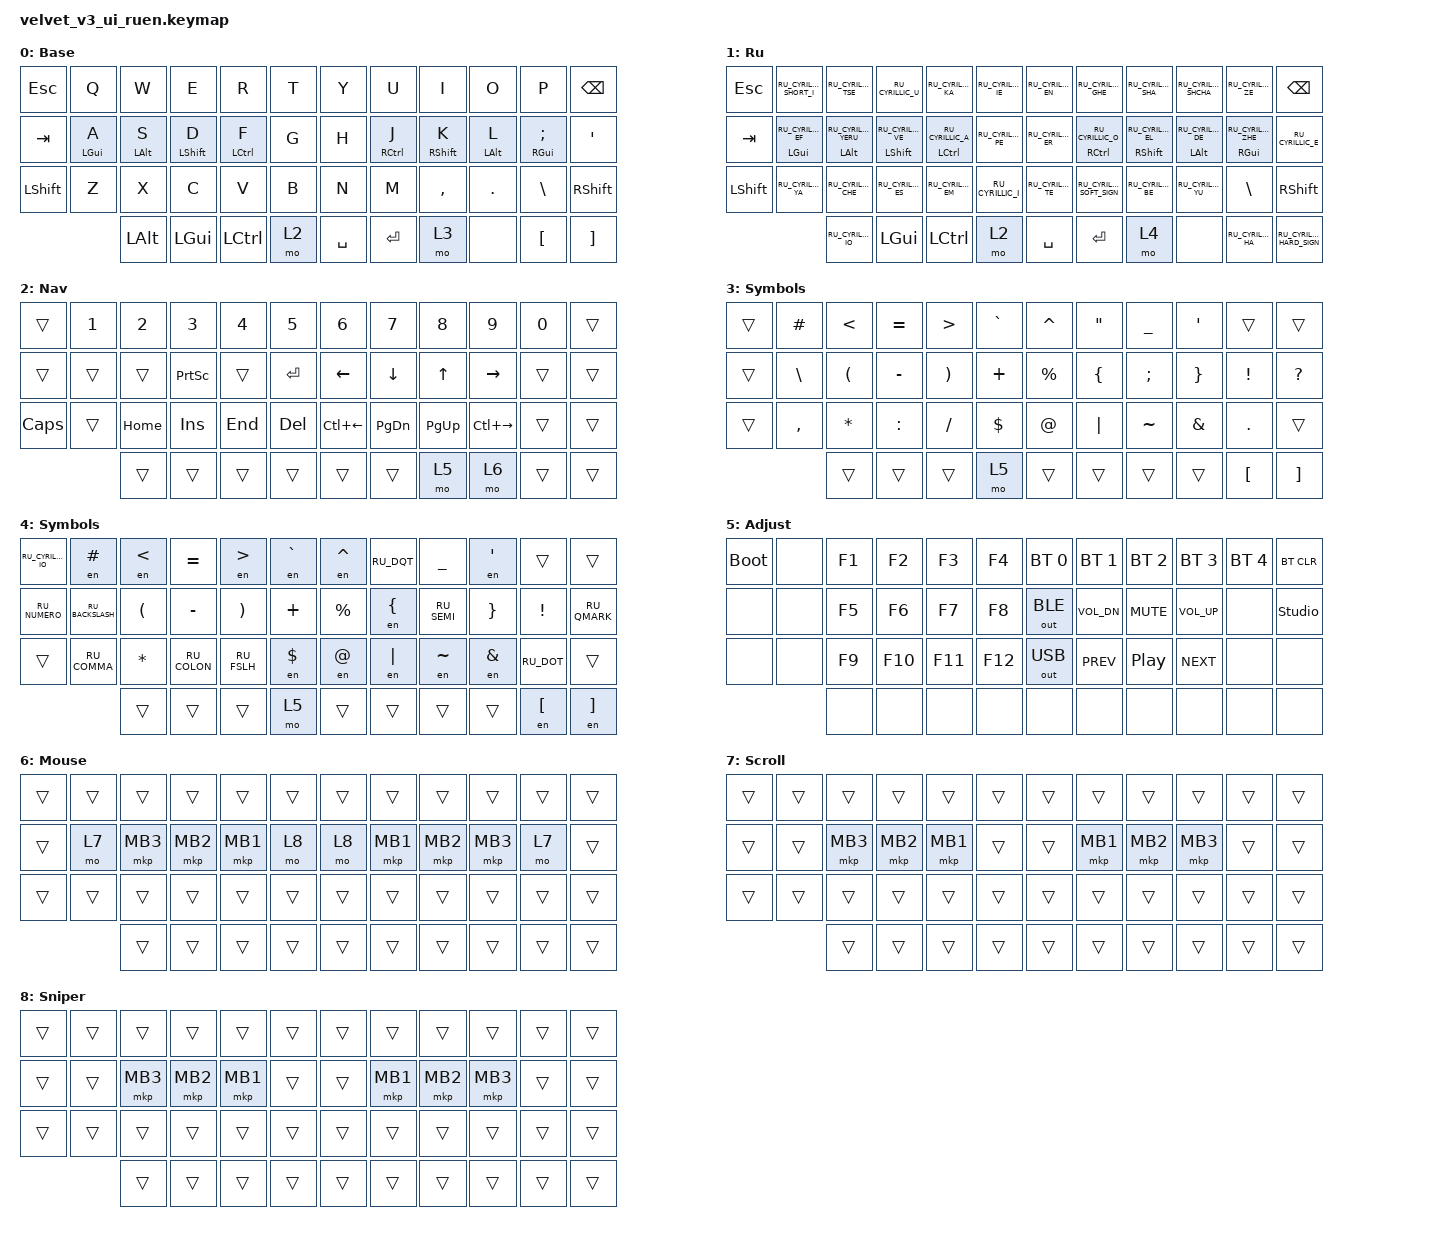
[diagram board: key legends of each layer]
#include "keys_ru.h"
#include <dt-bindings/zmk/input_transform.h>
#include <input/processors.dtsi>
#include <zephyr/dt-bindings/input/input-event-codes.h>
#include <behaviors.dtsi>
#include <dt-bindings/zmk/bt.h>
#include <dt-bindings/zmk/keys.h>
#include <dt-bindings/zmk/outputs.h>
#include <dt-bindings/zmk/pointing.h>

&mt {
    quick-tap-ms = <125>;
    flavor = "tap-preferred";
};

/ {
    behaviors {
        cap_sen: cap_sen {
            compatible = "zmk,behavior-hold-tap";
            label = "CAP_SEN";
            bindings = <&mo>, <&mkp>;

            #binding-cells = <2>;
            tapping-term-ms = <150>;
            hold-while-undecided;
        };

        hml: home_row_mod_left {
            compatible = "zmk,behavior-hold-tap";
            label = "HML";
            bindings = <&kp>, <&kp>;

            #binding-cells = <2>;
            tapping-term-ms = <280>;
            quick-tap-ms = <175>;
            require-prior-idle-ms = <150>;
            flavor = "balanced";
            hold-trigger-on-release;
            hold-trigger-key-positions = <6 7 8 9 10 11 18 19 20 21 22 23 30 31 32 33 34 35 41 42 43 44 45>;
        };

        hmr: home_row_mod_right {
            compatible = "zmk,behavior-hold-tap";
            label = "HMR";
            bindings = <&kp>, <&kp>;

            #binding-cells = <2>;
            tapping-term-ms = <280>;
            quick-tap-ms = <175>;
            require-prior-idle-ms = <150>;
            flavor = "balanced";
            hold-trigger-key-positions = <0 1 2 3 4 5 12 13 14 15 16 17 24 25 26 27 28 29 36 37 38 39 40>;
            hold-trigger-on-release;
        };

        mouse_layer: mouse_layer {
            compatible = "zmk,behavior-sticky-key";
            label = "MOUSE_LAYER";
            bindings = <&mo>;
            #binding-cells = <1>;
            release-after-ms = <200>;
        };

        zip_auto_mouse: zip_auto_mouse {
            compatible = "zmk,input-processor-temp-layer";
            #input-processor-cells = <2>;
            require-prior-idle-ms = <800>;
            excluded-positions = <>;
        };
    };

    combos {
        compatible = "zmk,combos";

        cmben {
            bindings = <&layer_en>;
            key-positions = <3 4>;
            layers = <1>;
        };

        cmbru {
            bindings = <&layer_ru>;
            key-positions = <3 4>;
            layers = <0>;
        };
    };

    macros {
        to_ru: to_ru {
            compatible = "zmk,behavior-macro";
            #binding-cells = <0>;
            bindings = <&kp LS(LC(N2))>;
            label = "TO_RU";
            wait-ms = <0>;
            tap-ms = <30>;
        };

        to_en: to_en {
            compatible = "zmk,behavior-macro";
            #binding-cells = <0>;
            bindings = <&kp LS(LC(N1))>;
            label = "TO_EN";
            wait-ms = <0>;
            tap-ms = <30>;
        };

        layer_en: layer_en {
            compatible = "zmk,behavior-macro";
            #binding-cells = <0>;
            bindings = <&to 0 &to_en>;
            label = "LAYER_EN";
            wait-ms = <0>;
            tap-ms = <30>;
        };

        layer_ru: layer_ru {
            compatible = "zmk,behavior-macro";
            #binding-cells = <0>;
            bindings = <&to 1 &to_ru>;
            label = "LAYER_RU";
            tap-ms = <30>;
            wait-ms = <0>;
        };

        en: en {
            compatible = "zmk,behavior-macro-one-param";
            #binding-cells = <1>;
            bindings =
                <&to_en>,
                <&macro_press>,
                <&macro_param_1to1 &kp MACRO_PLACEHOLDER>,
                <&macro_pause_for_release>,
                <&macro_release>,
                <&macro_param_1to1 &kp MACRO_PLACEHOLDER>,
                <&macro_tap>,
                <&to_ru>;

            label = "EN";
            wait-ms = <0>;
            tap-ms = <30>;
        };

        sen_mo: sen_mo {
            compatible = "zmk,behavior-macro-one-param";
            #binding-cells = <1>;
            bindings =
                <&macro_press>,
                <&macro_param_1to1 &mo MACRO_PLACEHOLDER>,
                <&macro_pause_for_release>,
                <&macro_press>,
                <&macro_param_1to1 &mo MACRO_PLACEHOLDER>;

            label = "SEN_MO";
        };
    };

    keymap {
        compatible = "zmk,keymap";

        en {
            bindings = <
&kp ESC    &kp Q        &kp W            &kp E              &kp R                &kp T                        &kp Y  &kp U         &kp I         &kp O            &kp P           &kp BSPC
&kp TAB    &hml LGUI A  &hml LEFT_ALT S  &hml LEFT_SHIFT D  &hml LEFT_CONTROL F  &kp G                        &kp H  &hmr RCTRL J  &hmr RSHFT K  &hmr LEFT_ALT L  &hmr RGUI SEMI  &kp SQT
&kp LSHFT  &kp Z        &kp X            &kp C              &kp V                &kp B                        &kp N  &kp M         &kp COMMA     &kp DOT          &kp BACKSLASH   &kp RSHFT
                        &kp LALT         &kp LGUI           &kp LCTRL            &mo 2  &kp SPACE    &kp RET  &mo 3  &none         &kp LBKT      &kp RBKT
            >;

            display-name = "Base";
        };

        ru {
            display-name = "Ru";
            bindings = <
&kp ESC    &kp RU_CYRILLIC_SHORT_I   &kp RU_CYRILLIC_TSE             &kp RU_CYRILLIC_U          &kp RU_CYRILLIC_KA        &kp RU_CYRILLIC_IE                        &kp RU_CYRILLIC_EN  &kp RU_CYRILLIC_GHE        &kp RU_CYRILLIC_SHA        &kp RU_CYRILLIC_SHCHA         &kp RU_CYRILLIC_ZE         &kp BSPC
&kp TAB    &hml LGUI RU_CYRILLIC_EF  &hml LEFT_ALT RU_CYRILLIC_YERU  &hml LSHFT RU_CYRILLIC_VE  &hml LCTRL RU_CYRILLIC_A  &kp RU_CYRILLIC_PE                        &kp RU_CYRILLIC_ER  &hmr RCTRL RU_CYRILLIC_O   &hmr RSHFT RU_CYRILLIC_EL  &hmr LEFT_ALT RU_CYRILLIC_DE  &hmr RGUI RU_CYRILLIC_ZHE  &kp RU_CYRILLIC_E
&kp LSHFT  &kp RU_CYRILLIC_YA        &kp RU_CYRILLIC_CHE             &kp RU_CYRILLIC_ES         &kp RU_CYRILLIC_EM        &kp RU_CYRILLIC_I                         &kp RU_CYRILLIC_TE  &kp RU_CYRILLIC_SOFT_SIGN  &kp RU_CYRILLIC_BE         &kp RU_CYRILLIC_YU            &kp BACKSLASH              &kp RSHFT
                                     &kp RU_CYRILLIC_IO              &kp LGUI                   &kp LCTRL                 &mo 2               &kp SPACE    &kp RET  &mo 4               &none                      &kp RU_CYRILLIC_HA         &kp RU_CYRILLIC_HARD_SIGN
            >;
        };

        nav {
            bindings = <
&trans    &kp N1  &kp N2    &kp N3           &kp N4   &kp N5                     &kp N6        &kp N7         &kp N8       &kp N9         &kp N0  &trans
&trans    &trans  &trans    &kp PRINTSCREEN  &trans   &kp RET                    &kp LEFT      &kp DOWN       &kp UP       &kp RIGHT      &trans  &trans
&kp CLCK  &trans  &kp HOME  &kp INS          &kp END  &kp DEL                    &kp LC(LEFT)  &kp PAGE_DOWN  &kp PAGE_UP  &kp LC(RIGHT)  &trans  &trans
                  &trans    &trans           &trans   &trans   &trans    &trans  &mo 5         &mo 6          &trans       &trans
            >;

            display-name = "Nav";
        };

        sym_en {
            bindings = <
&trans  &kp HASH   &kp LT    &kp EQUAL  &kp GT    &kp GRAVE                    &kp CARET  &kp DQT   &kp UNDER  &kp SQT   &trans    &trans
&trans  &kp BSLH   &kp LPAR  &kp MINUS  &kp RPAR  &kp PLUS                     &kp PRCNT  &kp LBRC  &kp SEMI   &kp RBRC  &kp EXCL  &kp QUESTION
&trans  &kp COMMA  &kp STAR  &kp COLON  &kp FSLH  &kp DLLR                     &kp AT     &kp PIPE  &kp TILDE  &kp AMPS  &kp DOT   &trans
                   &trans    &trans     &trans    &mo 5      &trans    &trans  &trans     &trans    &kp LBKT   &kp RBKT
            >;

            display-name = "Symbols";
        };

        sym_ru {
            display-name = "Symbols";
            bindings = <
&kp RU_CYRILLIC_IO  &en HASH          &en LT    &kp EQUAL     &en GT       &en GRAVE                    &en CARET  &kp RU_DQT  &kp UNDER    &en SQT   &trans      &trans
&kp RU_NUMERO       &kp RU_BACKSLASH  &kp LPAR  &kp MINUS     &kp RPAR     &kp PLUS                     &kp PRCNT  &en LBRC    &kp RU_SEMI  &kp RBRC  &kp EXCL    &kp RU_QMARK
&trans              &kp RU_COMMA      &kp STAR  &kp RU_COLON  &kp RU_FSLH  &en DLLR                     &en AT     &en PIPE    &en TILDE    &en AMPS  &kp RU_DOT  &trans
                                      &trans    &trans        &trans       &mo 5      &trans    &trans  &trans     &trans      &en LBKT     &en RBKT
            >;
        };

        adj {
            bindings = <
&bootloader  &none  &kp F1  &kp F2   &kp F3   &kp F4                   &bt BT_SEL 0  &bt BT_SEL 1  &bt BT_SEL 2      &bt BT_SEL 3  &bt BT_SEL 4  &bt BT_CLR
&none        &none  &kp F5  &kp F6   &kp F7   &kp F8                   &out OUT_BLE  &kp C_VOL_DN  &kp C_MUTE        &kp C_VOL_UP  &none         &studio_unlock
&none        &none  &kp F9  &kp F10  &kp F11  &kp F12                  &out OUT_USB  &kp C_PREV    &kp C_PLAY_PAUSE  &kp C_NEXT    &none         &none
                    &none   &none    &none    &none    &none    &none  &none         &none         &none             &none
            >;

            display-name = "Adjust";
        };

        mouse {
            bindings = <
&trans  &trans  &trans    &trans    &trans    &trans                    &trans  &trans    &trans    &trans    &trans  &trans
&trans  &mo 7   &mkp MB3  &mkp MB2  &mkp MB1  &mo 8                     &mo 8   &mkp MB1  &mkp MB2  &mkp MB3  &mo 7   &trans
&trans  &trans  &trans    &trans    &trans    &trans                    &trans  &trans    &trans    &trans    &trans  &trans
                &trans    &trans    &trans    &trans  &trans    &trans  &trans  &trans    &trans    &trans
            >;

            display-name = "Mouse";
        };

        scroll {
            bindings = <
&trans  &trans  &trans    &trans    &trans    &trans                    &trans  &trans    &trans    &trans    &trans  &trans
&trans  &trans  &mkp MB3  &mkp MB2  &mkp MB1  &trans                    &trans  &mkp MB1  &mkp MB2  &mkp MB3  &trans  &trans
&trans  &trans  &trans    &trans    &trans    &trans                    &trans  &trans    &trans    &trans    &trans  &trans
                &trans    &trans    &trans    &trans  &trans    &trans  &trans  &trans    &trans    &trans
            >;

            display-name = "Scroll";
        };

        sniper {
            bindings = <
&trans  &trans  &trans    &trans    &trans    &trans                    &trans  &trans    &trans    &trans    &trans  &trans
&trans  &trans  &mkp MB3  &mkp MB2  &mkp MB1  &trans                    &trans  &mkp MB1  &mkp MB2  &mkp MB3  &trans  &trans
&trans  &trans  &trans    &trans    &trans    &trans                    &trans  &trans    &trans    &trans    &trans  &trans
                &trans    &trans    &trans    &trans  &trans    &trans  &trans  &trans    &trans    &trans
            >;

            display-name = "Sniper";
        };
    };
};

&trackball { cpi = <1000>; };

&trackball_listener {
    input-processors = <&zip_auto_mouse 6 500>, <&zip_xy_scaler 9 20>;

    scroller {
        layers = <7>;
        input-processors =
            <&zip_xy_transform INPUT_TRANSFORM_Y_INVERT>,
            <&zip_xy_scaler 1 32>,
            <&zip_xy_to_scroll_mapper>;
    };

    sniper {
        layers = <8>;
        input-processors = <&zip_xy_scaler 1 4>;
    };
};
